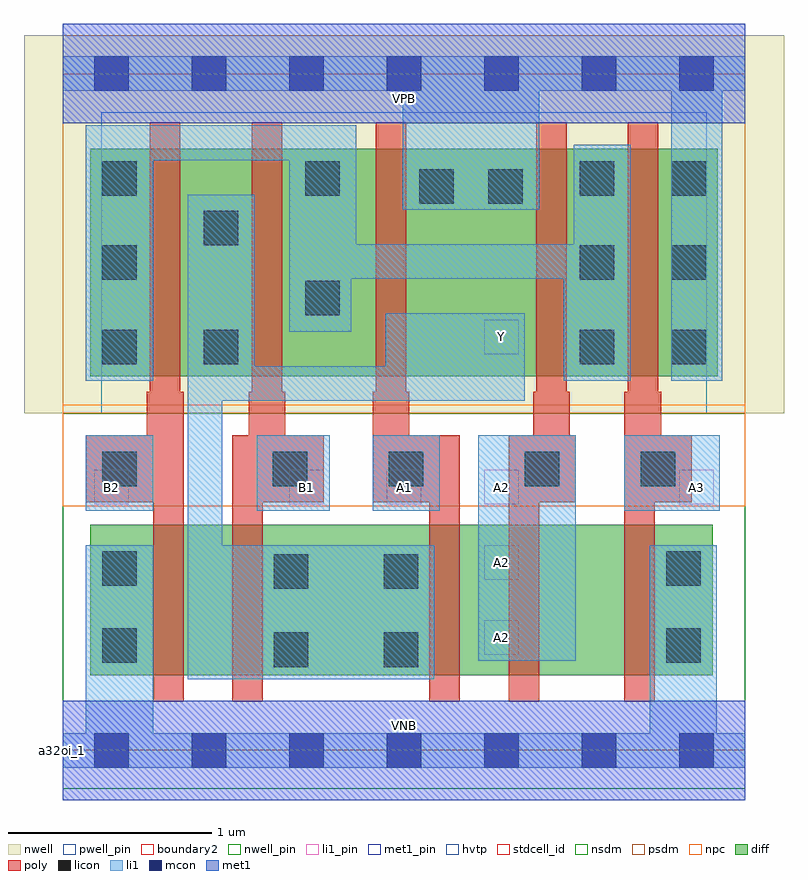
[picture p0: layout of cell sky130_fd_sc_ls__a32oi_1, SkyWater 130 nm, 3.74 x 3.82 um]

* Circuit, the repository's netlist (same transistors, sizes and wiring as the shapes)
* Copyright 2020 The SkyWater PDK Authors
*
* Licensed under the Apache License, Version 2.0 (the "License");
* you may not use this file except in compliance with the License.
* You may obtain a copy of the License at
*
*     https://www.apache.org/licenses/LICENSE-2.0
*
* Unless required by applicable law or agreed to in writing, software
* distributed under the License is distributed on an "AS IS" BASIS,
* WITHOUT WARRANTIES OR CONDITIONS OF ANY KIND, either express or implied.
* See the License for the specific language governing permissions and
* limitations under the License.
*
* SPDX-License-Identifier: Apache-2.0

.SUBCKT sky130_fd_sc_ls__a32oi_1 A1 A2 A3 B1 B2 VGND VNB VPB VPWR Y
*.PININFO A1:I A2:I A3:I B1:I B2:I VGND:I VNB:I VPB:I VPWR:I Y:O
MMPA0 pndA A1 VPWR VPB sky130_fd_pr__pfet_01v8_hvt m=1 w=1.12U l=0.15U mult=1 sa=0.265
+ sb=0.265 sd=0.28 area=0.063 perim=1.14
MMPA1 pndA A2 VPWR VPB sky130_fd_pr__pfet_01v8_hvt m=1 w=1.12U l=0.15U mult=1 sa=0.265
+ sb=0.265 sd=0.28 area=0.063 perim=1.14
MMPA2 pndA A3 VPWR VPB sky130_fd_pr__pfet_01v8_hvt m=1 w=1.12U l=0.15U mult=1 sa=0.265
+ sb=0.265 sd=0.28 area=0.063 perim=1.14
MMPB0 Y B1 pndA VPB sky130_fd_pr__pfet_01v8_hvt m=1 w=1.12U l=0.15U mult=1 sa=0.265
+ sb=0.265 sd=0.28 area=0.063 perim=1.14
MMPB1 Y B2 pndA VPB sky130_fd_pr__pfet_01v8_hvt m=1 w=1.12U l=0.15U mult=1 sa=0.265
+ sb=0.265 sd=0.28 area=0.063 perim=1.14
MMNA0 Y A1 sndA1 VNB sky130_fd_pr__nfet_01v8 m=1 w=0.74U l=0.15U mult=1 sa=0.265
+ sb=0.265 sd=0.28 area=0.063 perim=1.14
MMNA1 sndA1 A2 sndA2 VNB sky130_fd_pr__nfet_01v8 m=1 w=0.74U l=0.15U mult=1 sa=0.265
+ sb=0.265 sd=0.28 area=0.063 perim=1.14
MMNA2 sndA2 A3 VGND VNB sky130_fd_pr__nfet_01v8 m=1 w=0.74U l=0.15U mult=1 sa=0.265
+ sb=0.265 sd=0.28 area=0.063 perim=1.14
MMNB0 Y B1 sndB1 VNB sky130_fd_pr__nfet_01v8 m=1 w=0.74U l=0.15U mult=1 sa=0.265
+ sb=0.265 sd=0.28 area=0.063 perim=1.14
MMNB1 sndB1 B2 VGND VNB sky130_fd_pr__nfet_01v8 m=1 w=0.74U l=0.15U mult=1 sa=0.265
+ sb=0.265 sd=0.28 area=0.063 perim=1.14
.ENDS sky130_fd_sc_ls__a32oi_1

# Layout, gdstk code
import gdstk
lib = gdstk.Library(unit=1e-6, precision=1e-09)
def R(c, l, rs):  # rectangles x0, y0, x1, y1
    for r in rs: c.add(gdstk.rectangle(r[:2], r[2:], *l))
def A(c, l, x, y, w, h, nx, ny, dx, dy):  # array of equal rectangles
    R(c, l, [(x+i*dx, y+j*dy, x+i*dx+w, y+j*dy+h) for i in range(nx) for j in range(ny)])
def P(c, l, *ps):  # polygons
    for p in ps: c.add(gdstk.Polygon(p, *l))
nwell_pin = (64, 16)
nwell = (64, 20)
diff = (65, 20)
poly = (66, 20)
licon = (66, 44)
li1_pin = (67, 16)
li1 = (67, 20)
mcon = (67, 44)
met1_pin = (68, 16)
met1 = (68, 20)
hvtp = (78, 44)
stdcell_id = (81, 4)
nsdm = (93, 44)
psdm = (94, 20)
npc = (95, 20)
pwell_pin = (122, 16)
boundary2 = (236, 0)

sky130_fd_sc_ls__a32oi_1 = lib.new_cell('sky130_fd_sc_ls__a32oi_1')
R(sky130_fd_sc_ls__a32oi_1, nwell_pin, [(0,3.085,3.36,3.33)])
R(sky130_fd_sc_ls__a32oi_1, nwell, [(-0.19,1.66,3.55,3.52)])
R(sky130_fd_sc_ls__a32oi_1, diff, [(0.135,0.37,3.2,1.11), (0.135,1.84,3.225,2.96)])
P(sky130_fd_sc_ls__a32oi_1, poly, [(1.285,1.55),(1.095,1.55),(1.095,1.765),(1.08,1.765),(1.08,3.09),(0.93,3.09),(0.93,1.765),(0.915,1.765),(0.915,1.55),(0.835,1.55),(0.835,0.24),(0.985,0.24),(0.985,1.22),(1.285,1.22)],
  [(1.955,1.55),(1.705,1.55),(1.705,1.765),(1.69,1.765),(1.69,3.09),(1.54,3.09),(1.54,1.765),(1.525,1.765),(1.525,1.22),(1.805,1.22),(1.805,0.24),(1.955,0.24)],
  [(2.525,1.55),(2.495,1.55),(2.495,1.765),(2.48,1.765),(2.48,3.09),(2.33,3.09),(2.33,1.765),(2.315,1.765),(2.315,1.55),(2.195,1.55),(2.195,0.24),(2.345,0.24),(2.345,1.22),(2.525,1.22)],
  [(3.095,1.55),(2.945,1.55),(2.945,1.765),(2.93,1.765),(2.93,3.09),(2.78,3.09),(2.78,1.765),(2.765,1.765),(2.765,0.24),(2.915,0.24),(2.915,1.22),(3.095,1.22)],
  [(0.595,1.765),(0.58,1.765),(0.58,3.09),(0.43,3.09),(0.43,1.765),(0.415,1.765),(0.415,1.55),(0.115,1.55),(0.115,1.22),(0.445,1.22),(0.445,0.24),(0.595,0.24)])
A(sky130_fd_sc_ls__a32oi_1, licon, 0.195, 1.9, 0.17, 0.17, 1, 3, 0, 0.415)
A(sky130_fd_sc_ls__a32oi_1, licon, 2.545, 1.9, 0.17, 0.17, 1, 3, 0, 0.415)
A(sky130_fd_sc_ls__a32oi_1, licon, 2.995, 1.9, 0.17, 0.17, 1, 3, 0, 0.415)
R(sky130_fd_sc_ls__a32oi_1, licon, [(1.04,0.41,1.21,0.58), (1.58,0.41,1.75,0.58), (0.195,0.43,0.365,0.6), (2.97,0.43,3.14,0.6), (1.04,0.795,1.21,0.965), (1.58,0.795,1.75,0.965), (0.195,0.81,0.365,0.98), (2.97,0.81,3.14,0.98), (0.195,1.3,0.365,1.47), (1.035,1.3,1.205,1.47), (1.605,1.3,1.775,1.47), (2.275,1.3,2.445,1.47), (2.845,1.3,3.015,1.47), (0.695,1.9,0.865,2.07), (1.195,2.14,1.365,2.31), (0.695,2.485,0.865,2.655), (1.755,2.69,1.925,2.86), (2.095,2.69,2.265,2.86), (1.195,2.73,1.365,2.9)])
A(sky130_fd_sc_ls__a32oi_1, li1_pin, 1.115, 1.21, 0.17, 0.17, 3, 1, 0.48, 0)
R(sky130_fd_sc_ls__a32oi_1, li1_pin, [(2.075,0.47,2.245,0.64), (2.075,0.84,2.245,1.01), (0.155,1.21,0.325,1.38), (3.035,1.21,3.205,1.38), (2.075,1.95,2.245,2.12)])
R(sky130_fd_sc_ls__a32oi_1, li1, [(2.045,0.44,2.525,1.55), (0.115,1.18,0.445,1.55), (0.955,1.18,1.315,1.55), (1.525,1.18,1.855,1.55), (2.765,1.18,3.235,1.55)])
P(sky130_fd_sc_ls__a32oi_1, li1, [(0,-0.085),(0,0.085),(0.115,0.085),(0.115,1.01),(0.445,1.01),(0.445,0.085),(2.89,0.085),(2.89,1.01),(3.22,1.01),(3.22,0.085),(3.36,0.085),(3.36,-0.085)],
  [(0,3.245),(0,3.415),(3.36,3.415),(3.36,3.245),(3.245,3.245),(3.245,1.82),(2.995,1.82),(2.995,3.245),(2.345,3.245),(2.345,2.66),(1.675,2.66),(1.675,3.245)],
  [(0.945,1.89),(1.59,1.89),(1.59,2.15),(2.275,2.15),(2.275,1.72),(0.785,1.72),(0.785,1.01),(1.83,1.01),(1.83,0.35),(0.615,0.35),(0.615,2.735),(0.945,2.735)],
  [(1.445,2.49),(2.515,2.49),(2.515,2.98),(2.795,2.98),(2.795,1.82),(2.465,1.82),(2.465,2.32),(1.42,2.32),(1.42,2.06),(1.115,2.06),(1.115,2.905),(0.445,2.905),(0.445,1.82),(0.115,1.82),(0.115,3.075),(1.445,3.075)])
A(sky130_fd_sc_ls__a32oi_1, mcon, 0.155, -0.085, 0.17, 0.17, 7, 2, 0.48, 3.33)
R(sky130_fd_sc_ls__a32oi_1, met1_pin, [(0,0,3.36,0.245), (0,3.085,3.36,3.33)])
R(sky130_fd_sc_ls__a32oi_1, met1, [(0,-0.245,3.36,0.245), (0,3.085,3.36,3.575)])
R(sky130_fd_sc_ls__a32oi_1, hvtp, [(0.19,1.66,3.17,3.14)])
R(sky130_fd_sc_ls__a32oi_1, stdcell_id, [(0,0,3.36,3.33)])
R(sky130_fd_sc_ls__a32oi_1, nsdm, [(0,-0.19,3.36,1.66)])
R(sky130_fd_sc_ls__a32oi_1, psdm, [(0,1.66,3.36,3.52)])
R(sky130_fd_sc_ls__a32oi_1, npc, [(0,1.2,3.36,1.7)])
R(sky130_fd_sc_ls__a32oi_1, pwell_pin, [(0,0,3.36,0.245)])
R(sky130_fd_sc_ls__a32oi_1, boundary2, [(0,0,3.36,3.33)])
sky130_fd_sc_ls__a32oi_1.add(gdstk.Label('a32oi_1', (0,0), layer=83, texttype=44))
sky130_fd_sc_ls__a32oi_1.add(gdstk.Label('VNB', (1.68,0.123), layer=64, texttype=59))
sky130_fd_sc_ls__a32oi_1.add(gdstk.Label('VPB', (1.68,3.208), layer=64, texttype=5))
sky130_fd_sc_ls__a32oi_1.add(gdstk.Label('VPWR', (1.68,3.208), layer=68, texttype=5))
sky130_fd_sc_ls__a32oi_1.add(gdstk.Label('VGND', (1.68,0.123), layer=68, texttype=5))
sky130_fd_sc_ls__a32oi_1.add(gdstk.Label('A3', (3.12,1.295), layer=67, texttype=5))
sky130_fd_sc_ls__a32oi_1.add(gdstk.Label('B2', (0.24,1.295), layer=67, texttype=5))
sky130_fd_sc_ls__a32oi_1.add(gdstk.Label('B1', (1.2,1.295), layer=67, texttype=5))
sky130_fd_sc_ls__a32oi_1.add(gdstk.Label('A2', (2.16,0.555), layer=67, texttype=5))
sky130_fd_sc_ls__a32oi_1.add(gdstk.Label('A2', (2.16,0.925), layer=67, texttype=5))
sky130_fd_sc_ls__a32oi_1.add(gdstk.Label('A2', (2.16,1.295), layer=67, texttype=5))
sky130_fd_sc_ls__a32oi_1.add(gdstk.Label('Y', (2.16,2.035), layer=67, texttype=5))
sky130_fd_sc_ls__a32oi_1.add(gdstk.Label('A1', (1.68,1.295), layer=67, texttype=5))

lib.write_gds('sky130_fd_sc_ls__a32oi_1.gds')
